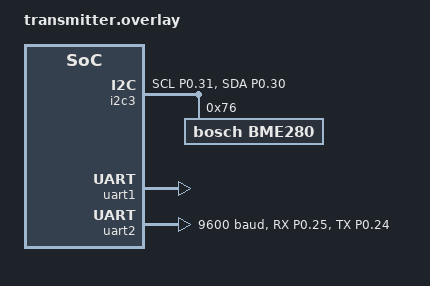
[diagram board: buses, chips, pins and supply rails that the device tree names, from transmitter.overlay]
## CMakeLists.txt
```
#
# Copyright (c) 2020 Nordic Semiconductor
#
# SPDX-License-Identifier: LicenseRef-Nordic-5-Clause
#

cmake_minimum_required(VERSION 3.20.0)

find_package(Zephyr REQUIRED HINTS $ENV{ZEPHYR_BASE})
project(dect_gps)

# NORDIC SDK APP START
target_sources(app PRIVATE src/main.c)
target_sources(app PRIVATE src/gps.c)
target_sources(app PRIVATE src/cloud_uart.c)
target_sources(app PRIVATE src/dect.c)
# NORDIC SDK APP END
```

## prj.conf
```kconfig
CONFIG_DK_LIBRARY=y
CONFIG_LOG=y
CONFIG_LOG_MODE_IMMEDIATE=y
CONFIG_LOG_PRINTK=n
CONFIG_LOG_DEFAULT_LEVEL=3
CONFIG_MODEM_ANTENNA_AT_MAGPIO=""
CONFIG_MODEM_ANTENNA_AT_COEX0=""
CONFIG_NRF_MODEM_LOG=n
CONFIG_NRF_MODEM_LIB_LOG_LEVEL_DBG=n
CONFIG_SENSOR=y
CONFIG_BME280=y
CONFIG_STDOUT_CONSOLE=y
CONFIG_SERIAL=y
CONFIG_DATE_TIME=y
CONFIG_DATE_TIME_NTP=n
CONFIG_NRF_MODEM_LIB=y
CONFIG_NRF_MODEM_LINK_BINARY_DECT_PHY=y
CONFIG_MODEM_ANTENNA=n
CONFIG_HWINFO=y
CONFIG_HEAP_MEM_POOL_SIZE=8192
CONFIG_RING_BUFFER=y
```

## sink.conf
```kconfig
#Compile build with this configuration when programming Sinks

CONFIG_I2C=n
CONFIG_UART_ASYNC_API=y
CONFIG_UART_INTERRUPT_DRIVEN=n
```

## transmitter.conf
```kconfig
#Compile build with this configuration when programming Transmitters

CONFIG_I2C=y
CONFIG_UART_ASYNC_API=n
CONFIG_UART_INTERRUPT_DRIVEN=y
CONFIG_UART_2_INTERRUPT_DRIVEN=y
```

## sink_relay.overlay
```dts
uart1: &uart1 {
	status = "okay";
};

&spi3 {
    status = "disabled";
};

&i2c2 {
    status = "disabled";
};

uart2: &uart2 {
    status="okay";
    pinctrl-0 = <&uart2_default>;
    pinctrl-names = "default";
    current-speed = <9600>;
};

&pinctrl {
    uart2_default: uart2_default {
        group1 {
            psels = <NRF_PSEL(UART_RX, 0, 25)>, <NRF_PSEL(UART_TX, 0, 24)>;
        };
    };
};
```

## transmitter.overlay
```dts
&i2c2 {
    status = "disabled";
};

&i2c3 {
    status = "okay";

	bme280@76 {
		compatible = "bosch,bme280";
		reg = <0x76>;
	};
};

uart1: &uart1 {
	status = "okay";
};

uart2: &uart2 {
    status="okay";
    pinctrl-0 = <&uart2_default>;
    pinctrl-names = "default";
    current-speed = <9600>;
};

&pinctrl {
    uart2_default: uart2_default {
        group1 {
            psels = <NRF_PSEL(UART_RX, 0, 25)>, <NRF_PSEL(UART_TX, 0, 24)>;
        };
    };
};

&i2c3 {
    pinctrl-0 = <&i2c3_default>;
    pinctrl-names = "default";
};

&pinctrl {
    i2c3_default: i2c3_default {
        group1 {
            psels = <NRF_PSEL(TWIM_SCL, 0, 31)>;
        };
    };
};

&i2c3_default {
    group1 {
        psels = <NRF_PSEL(TWIM_SCL, 0, 31)>, <NRF_PSEL(TWIM_SDA, 0, 30)>;
    };
};

&spi3 {
    status = "disabled";
};
```

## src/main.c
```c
#include <string.h>
#include <zephyr/kernel.h>
#include <zephyr/device.h>
#include <zephyr/logging/log.h>
#include <dk_buttons_and_leds.h>
#include <zephyr/drivers/uart.h>
#include <zephyr/drivers/sensor.h>
#include <date_time.h>
#include "dect.h"
#include "gps.h"
#include "cloud_uart.h"

LOG_MODULE_REGISTER(app);

//Set Radio ID according to required mode and cluster setting
int RD_ID = 1;

uint8_t sensor[4];
uint32_t i;
char mode;
bool testRange = false;
int relay_select = 0;

// External GPS variables
int64_t current_time_ms;

void mapper(int value, uint8_t* buffer) {
    // Extract the three bytes from the value
    buffer[0] = (value >> 16) & 0xFF;  // Most significant byte
    buffer[1] = (value >> 8) & 0xFF;   // Middle byte
    buffer[2] = value & 0xFF;          // Least significant byte
}

void button_handler(uint32_t button_state, uint32_t has_changed) {
    // Check if the first button (usually DK_BTN1) was pressed
    if ((has_changed & button_state) && (button_state & DK_BTN1_MSK)) {
        _txData[4] = 41;
        testRange = false;
        modem_tx(relay_select);
        dk_set_led_off(DK_LED3);
        dk_set_led_off(DK_LED4);
    }
    // Check if the second button (usually DK_BTN2) was pressed
    if ((has_changed & button_state) && (button_state & DK_BTN2_MSK)) {
        _txData[4] = 61;
        testRange = false;
        modem_tx(relay_select);
        dk_set_led_off(DK_LED3);
        dk_set_led_off(DK_LED4);        
    }
    // Check if the third button (usually DK_BTN3) was pressed
    if ((has_changed & button_state) && (button_state & DK_BTN3_MSK)) {
        _txData[4] = 81;
        testRange = false;
        modem_tx(relay_select);
        dk_set_led_off(DK_LED3);
        dk_set_led_off(DK_LED4);        
    }
    if ((has_changed & button_state) && (button_state & DK_BTN4_MSK)) {
        _txData[4] = 81;
        testRange = true;
    }          
}

static const struct device* get_bme280_device(void) {
  const struct device* const dev = DEVICE_DT_GET_ANY(bosch_bme280);

  if (dev == NULL) {
    // No such node, or the node does not have status "okay".
    printk("\nError: no device found.\n");
    return NULL;
  }

  if (!device_is_ready(dev)) {
    printk("\nError: Device \"%s\" is not ready; check the driver initialization logs for errors.\n",
           dev->name);
    return NULL;
  }

  printk("Found device \"%s\", getting sensor data\n", dev->name);
  return dev;
}

void update_n_print_time() {
  struct tm timeinfo;

  // Get the current UTC timestamp in milliseconds
  date_time_now(&current_time_ms);

  // Extract the seconds part
  time_t seconds = (time_t)(current_time_ms / 1000);

  // Get the milliseconds part
  int milliseconds = (int)(current_time_ms % 1000);

  // Convert to structured time (UTC)
  gmtime_r(&seconds, &timeinfo);

  // Display the structured time with milliseconds
  printf("Date and Time (UTC): %02d/%02d/%04d - %2d:%02d:%02d.%03d\n",
         timeinfo.tm_mday,
         timeinfo.tm_mon,
         timeinfo.tm_year + 1900,
         timeinfo.tm_hour,
         timeinfo.tm_min,
         timeinfo.tm_sec,
         milliseconds);
}

void mode_define(){
  if (RD_ID >= 1 && RD_ID <= 10) {
    mode = 'T';
  } else if (RD_ID >= 11 && RD_ID <= 40) {
    mode = 'R';
  } else if (RD_ID >= 41 && RD_ID <= 100) {
    mode = 'S';
  }
}

int dect_init(){
  k_sem_take(&modem, K_FOREVER);
  int err = 0;
  // Define mode according to ID
  mode_define();
  err = nrf_modem_dect_phy_callback_set(&dect_cb_config);
  if (err != 0) {
    printk("ERROR settings callbacks %d\n", err);
  }
  err = nrf_modem_dect_phy_init(&init_params);
  if (err != 0) {
    printk("ERROR initializing modem PHY %d\n", err);
    return -1;
  }
  printk("DECT init started\n");
  nrf_modem_lib_init();
  return 0; 
}

int transmitter(){
    
  // Initialize GPS
  int err = UartInit();
  if (err != 0) {
    printk("uart_gps failed (err %d)\n", err);
    return 0;
  } else {
    printk("GPS Initialized...\n");
  }

  // Initialize DK buttons
  dk_buttons_init(button_handler);

  // Get BME280 device
  const struct device* dev = get_bme280_device(); 

  if (RD_ID == 1) relay_select = 11;
  else if (RD_ID == 2) relay_select = 21;
  else if (RD_ID == 3) relay_select = 31;
  
  // Wait for 1 second
  k_msleep(1000); 
  
  // Start transmission
  printk("Transmission Mode... RD ID: %d\n", RD_ID);
  printk("Data will be sent over relay %d\n", relay_select);
  
  while (1) {
    ProcessGpsData();
    // Sleep for 330 milliseconds
    k_msleep(330);

    // Toggle LEDs
    if (i % 2 == 0) {
      dk_set_led_on(DK_LED1);
      dk_set_led_on(DK_LED2);
    } else {
      dk_set_led_off(DK_LED1);
      dk_set_led_off(DK_LED2);
    }

    // Read sensor data
    struct sensor_value temp, press, humidity;
    sensor_sample_fetch(dev);
    sensor_channel_get(dev, SENSOR_CHAN_AMBIENT_TEMP, &temp);
    sensor_channel_get(dev, SENSOR_CHAN_PRESS, &press);
    sensor_channel_get(dev, SENSOR_CHAN_HUMIDITY, &humidity);

    // Store sensor data in array
    sensor[0] = temp.val1;
    sensor[1] = press.val1;
    sensor[2] = humidity.val1;
    sensor[3] = temp.val2 / 10000;

    // Set transmit data
    set_txData(sensor[0], sensor[1], sensor[2], sensor[3], 0, 0);

    if (testRange)
    {
      _txData[4] = 81;
      printk("Testing Range\n");
      modem_tx(81);
      dk_set_led_off(DK_LED3);
      dk_set_led_off(DK_LED4); 
    }
      
    // Increment counter
    i++;

    // Sleep for 670 milliseconds
    k_msleep(670);

    // Check for looped integer value
    if (i == INT32_MAX) {
      i = 0;
      LOG_INF("Sent integer value looped");
    }
  }
  return 0;
}

void range_set() {
  if (RD_ID >= 11 && RD_ID <= 20) {
    cluster = 1;
    int j = 41;
    for (int k = 0; k < RANGE_SIZE; k++) {
      range[k] = j;
      j++;
    }
  } else if (RD_ID >= 21 && RD_ID <= 30) {
    cluster = 2;
    int j = 61;
    for (int k = 0; k < RANGE_SIZE; k++) {
      range[k] = j;
      j++;
    }
  } else if (RD_ID >= 31 && RD_ID <= 40) {
    cluster = 3;
    int j = 81;
    for (int k = 0; k < RANGE_SIZE; k++) {
      range[k] = j;
      j++;
    }
  }
}

void init_sink(){
  if (41 <= RD_ID && RD_ID <= 60) {
    for(int i=11; i<=20; i++) {
      _txData[0] = 1;
      _txData[4] = 0;
      modem_tx(i);
      k_msleep(50);
      count10++;
    }
    sink_start = true;
  } else if (61 <= RD_ID && RD_ID <= 80) {
    for(int i=21; i<=30; i++) {
      _txData[0] = 1;
      _txData[4] = 0;
      modem_tx(i);
      k_msleep(50);
      count10++;
    }
    sink_start = true;
  } else if (81 <= RD_ID && RD_ID <= 100) {
    for(int i=31; i<=40; i++) {
      _txData[0] = 1;
      _txData[4] = 0;
      modem_tx(i);
      k_msleep(50);
      count10++;
    }
    sink_start = true;
  }
}

int main(void) {

  printk("START DECT MESH\n");
  dk_leds_init();
  printk("leds init\t");

  dect_init();

  if (mode == 'T') {

    transmitter();

  } 
  
  else if (mode == 'R') {
    // Set LEDs for relay mode
    dk_set_led_on(DK_LED2);
    dk_set_led_on(DK_LED3);
    printk("Relay Mode... RD ID: %d\n", RD_ID);
    // Set range
    range_set();

    while (1)
    {
      dk_set_led_off(DK_LED1);
      dk_set_led_on(DK_LED2);
      dk_set_led_on(DK_LED3);
      dk_set_led_off(DK_LED4);
      modem_rx(NRF_MODEM_DECT_PHY_RX_MODE_SEMICONTINUOUS, 1);
      k_msleep(100);
    }
  }

  else if (mode == 'S') {
    cloud_uart_init();
    // Set LEDs for sink mode
    dk_set_led_on(DK_LED3);
    dk_set_led_on(DK_LED4);
    printk("Sink Mode... RD ID: %d\n", RD_ID);
    init_sink();

    while (1)
    {
      dk_set_led_off(DK_LED1);
      dk_set_led_off(DK_LED2);
      dk_set_led_on(DK_LED3);
      dk_set_led_on(DK_LED4);
      modem_rx(NRF_MODEM_DECT_PHY_RX_MODE_CONTINUOUS, 1);
      k_msleep(100);
      
    }
  }
  return 0;
}
```

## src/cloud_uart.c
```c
#include <zephyr/kernel.h>
#include <zephyr/device.h>
#include <zephyr/drivers/uart.h>
#include "cloud_uart.h"

const struct device* uart = DEVICE_DT_GET(DT_NODELABEL(uart1));

const struct uart_config uart_cfg = {
    .baudrate = 115200,
    .parity = UART_CFG_PARITY_NONE,
    .stop_bits = UART_CFG_STOP_BITS_1,
    .data_bits = UART_CFG_DATA_BITS_8,
    .flow_ctrl = UART_CFG_FLOW_CTRL_NONE
};

void data_over_uart(){
    int ret = uart_tx(uart, sensor, sizeof(sensor), SYS_FOREVER_MS);
    if (ret != 0) {
        printk("Failed to send data over UART: %d\n", ret);
    } else {
        printk("Data Forwarded\n");
    }
}

int cloud_uart_init() {
    int err;

    if (!device_is_ready(uart)) {
        printk("UART device not ready\n");
        return -ENODEV;
    }

    k_msleep(1000); // Ensure any necessary startup delay

    printk("UART Initialized...\n");

    err = uart_configure(uart, &uart_cfg);
    if (err) {
        printk("Failed to configure UART: %d\n", err);
        return err;
    }

    printk("UART Configured...\n");
    return 0;
}
```

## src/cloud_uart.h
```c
#ifndef CLOUD_UART_H
#define CLOUD_UART_H

#include <stdint.h>

extern uint8_t sensor[4];

void data_over_uart();
int cloud_uart_init();

#endif // CLOUD_UART_H
```

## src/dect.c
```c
#include "dect.h"
#include "cloud_uart.h"

int INIT_DONE = 0;
int EXIT = 0;

// Handle values for API calls, separate tx and rx
int txHandle = 1;
int rxHandle = 31400;

// Statistics collecting
int previous_received = -1;
int missing_errors = 0;
int crc_errors = 0;
int received_ok = 0;
float rssi_average = 0;
int n = 0;
uint8_t lat_buffer[3];
uint8_t lon_buffer[3];
int range[RANGE_SIZE];
int16_t _rssi2;
int16_t snr;
int sinks[20] = {0};
int numSink = 0;
bool sink_start = false;
int count10 = 1;

uint8_t _txData[DATA_LEN];
uint8_t _rxData[DATA_LEN];

int cluster;
uint16_t tx_id;

#define LOG_MODULE_NAME DECT
LOG_MODULE_REGISTER(LOG_MODULE_NAME);

// Semaphore for API calls, only 1 async operation at a time in this sample 
K_SEM_DEFINE(modem, 1, 1);

// Setup the nrf_modem_dect_phy_operation_rx
struct nrf_modem_dect_phy_rx_params rxOpsParams = {0};

// TYPE 2 FORMAT 001 header for messages used
struct phy_ctrl_field_common {
    uint32_t header_format : 3;
    uint32_t packet_length_type : 1;
    uint32_t packet_length : 4;
    uint32_t short_network_id : 8;
    uint32_t transmitter_id_hi : 8;
    uint32_t transmitter_id_lo : 8;
    uint32_t transmit_power : 4;
    uint32_t df_mcs : 4;
    uint32_t receiver_id_hi : 8;
    uint32_t receiver_id_lo : 8;
    uint32_t spatial_stream : 2;
    uint32_t reserved : 6;
    uint32_t feedback_format : 4;
    uint32_t feedback_info_hi : 4;
    uint32_t feedback_info_lo : 8;
};
union nrf_modem_dect_phy_hdr phyHeader;

// New parameters for HARQ operation, not used in this sample
const struct nrf_modem_dect_phy_init_params init_params = {
    .harq_rx_expiry_time_us = 5000000,
    .harq_rx_process_count = 1
};

// ETSI TS 103 636-2 spec 8.3.3 RSSI is reported every 0.5dbm
// If successful reception, calculate the average 
int32_t calcRSSI(int16_t recrssi, int is_success) {
    float resp = -20 - ((-recrssi - 1) * 0.5);
    // avg_new = avg_old + (value - avg_old) / n
    if (is_success) {
        n++;
        float new_average = rssi_average + (resp - rssi_average) / n;
        rssi_average = new_average;
    }
    return (int32_t)resp;
}

// Callback functions from PHY API
void init(const uint64_t* time, int16_t temp, enum nrf_modem_dect_phy_err err, const struct nrf_modem_dect_phy_modem_cfg* cfg) {
    if (err == 0) {
        LOG_INF("DECT Init done, temperature %d", temp);
    } else {
        LOG_ERR("INIT FAILED");
        printk("Init failed, Exit\n");
        EXIT = 1;
    }
    k_sem_give(&modem);
}

void op_complete(const uint64_t* time, int16_t temperature, enum nrf_modem_dect_phy_err err, uint32_t handle) {
    LOG_DBG("operation_complete_cb Status %d, Temp %d, Handle %d\n", err, temperature, handle);
    k_sem_give(&modem);
}

void rssi(const uint64_t* time, const struct nrf_modem_dect_phy_rssi_meas* status) {
    k_sem_give(&modem);
}

void rx_stop(const uint64_t* time, enum nrf_modem_dect_phy_err err, uint32_t handle) {
    LOG_DBG("operation_stop_cb Status %d Handle %d", err, handle);
    k_sem_give(&modem);
}

// PHY header receive
void pcc(const uint64_t* time, const struct nrf_modem_dect_phy_rx_pcc_status* status, const union nrf_modem_dect_phy_hdr* hdr) {
    LOG_DBG("pcc_cb phy_header_valid %d rssi_2 %d", status->header_status, status->rssi_2);
    struct phy_ctrl_field_common* header = (struct phy_ctrl_field_common*)hdr->type_1;
    tx_id = header->transmitter_id_hi << 8 | header->transmitter_id_lo;
    // LOG_INF("Received header from device ID %d", tx_id);
}

void pcc_crc_err(const uint64_t* time, const struct nrf_modem_dect_phy_rx_pcc_crc_failure* crc_failure) {
    crc_errors++;
    int16_t resp = calcRSSI(crc_failure->rssi_2, 0);
    LOG_DBG("PCC CRC ERROR, rssi_2, %d, crc error count, %d, continuing", resp, crc_errors);
}

// Function to check if an ID is within the range array
bool isInRange(int id) {
    for (int i = 0; i < RANGE_SIZE; i++) {
        if (range[i] == id) {
            return true;
        }
    }
    return false;
}

// Function to relay data to other nodes
void relayData(int dest, int delay, bool toSink) {
    if(toSink) {
        bool present = false;
        for(int i = 0; i < 20; i++) {
            if (dest == sinks[i]) {
                present = true;
                break;
            }
        }
        if (present) {
            printk("Sink with RD ID %d found.... Sending Data.\n", _rxData[4]);
            set_txData(_rxData[0], _rxData[1], _rxData[2], _rxData[3], _rxData[4], _rxData[5]);
            modem_tx(dest);
            printk("Forwarded...\n");
            k_msleep(delay);
        } else
            printk("Sink with RD ID %d not found\n", _rxData[4]);
    } else {
        set_txData(_rxData[0], _rxData[1], _rxData[2], _rxData[3], _rxData[4], _rxData[5]);
        modem_tx(dest);
        k_msleep(delay);
    }
}

// Function to relay data between relays
void relaytorelay() {
    int delay = 50; // Adjust as needed
    if (_rxData[4] >= 41 && _rxData[4] <= 60) {
        if (cluster == 2) {
            relayData(11, delay, false); // Relay to final destination
        } else if (cluster == 3) {
            relayData(21, delay, false); // Relay to 2nd relay directly
        }
    } else if (_rxData[4] >= 61 && _rxData[4] <= 80) {
        relayData(21, delay, false); // Relay to final destination
    } else if (_rxData[4] >= 81 && _rxData[4] <= 100) {
        if (cluster == 2) {
            relayData(31, delay, false); // Relay to final destination
        } else if (cluster == 1) {
            relayData(21, delay, false); // Relay to 2nd relay directly
        }
    }
}

void processData() {
  printk("**********************************************************************************\n");
    if (!_rxData[5])
  {
    _rxData[5] = tx_id;
  }
  if (_rxData[4] != rxOpsParams.filter.receiver_identity && mode == 'R') {
    printk("Received data from device ID %d\n", tx_id);
    printk("RX ID does not match with receiver. Data to be forwarded...\n");
    
    if (isInRange(_rxData[4])) {
      relayData(_rxData[4], 0, true);  // Forward directly to the destination
    } else {
      printk("ID not in range, forwarding to next relay.\n");
      relaytorelay();  // Forward to the next relay
    }
  } else if (_rxData[4] == rxOpsParams.filter.receiver_identity) {
    printk(
      "Received data from device ID %d - Originated from device ID %d\nTemp = %d.%d, Pressure = %d, Humidity = %d, rssi_2 %d.%d, snr %d, missed/crc errors %d\r\n",
      tx_id, _rxData[5], _rxData[0], _rxData[3], _rxData[1], _rxData[2], (_rssi2 / 2), (_rssi2 & 0b1) * 5, snr, missing_errors
    );
    if (mode == 'S')
    {
      data_over_uart();
    }
  }
  dk_set_led_off(DK_LED4);
  printk("**********************************************************************************\n");
}

void addSink() {
  bool alreadyAdded = false;
  for (int i = 0; i < numSink; i++) {
    if (sinks[i] == tx_id) {
      alreadyAdded = true;
      break;
    }
  }

  if (!alreadyAdded) {
    sinks[numSink] = tx_id;
    printk("Sink with RD ID %d found\n", tx_id);
    numSink++;
  }
}

// Data payload receive, statistics calculation, and tracking previous received message number
void pdc(const uint64_t* time, const struct nrf_modem_dect_phy_rx_pdc_status* status, const void* data, uint32_t len) {
  if (mode == 'R')
  {
    dk_set_led_on(DK_LED1);
    dk_set_led_off(DK_LED2);
    dk_set_led_off(DK_LED3);
    dk_set_led_on(DK_LED4);
  }
    if (mode == 'S')
  {
    dk_set_led_on(DK_LED1);
    dk_set_led_on(DK_LED2);
    dk_set_led_off(DK_LED3);
    dk_set_led_off(DK_LED4);
  }
  memcpy(&_rxData, data, 6);
  _rssi2 = status->rssi_2;
  snr = status->snr;
  sensor[0] = _rxData[0];
  sensor[1] = _rxData[1];
  sensor[2] = _rxData[2];
  sensor[3] = _rxData[3];
  if (_rxData[0] == 1 && !_rxData[4] && mode == 'R') addSink();
  else processData();
}

void pdc_crc_err(const uint64_t* time, const struct nrf_modem_dect_phy_rx_pdc_crc_failure* crc_failure) {
  crc_errors++;
  int16_t resp = calcRSSI(crc_failure->rssi_2, 0);
  LOG_DBG("PDC CRC ERROR, rssi_2, %d, crc error count, %d, continuing", resp, crc_errors);
}

void link_config(const uint64_t* time, enum nrf_modem_dect_phy_err err) {}

void time_get(const uint64_t* time, enum nrf_modem_dect_phy_err err) {
  LOG_DBG("Time query response time %" PRIu64 " Status %d", *time, err);
}

void capability_get(const uint64_t* time, enum nrf_modem_dect_phy_err err, const struct nrf_modem_dect_phy_capability* capability) {
  LOG_DBG("Capability query response FIXME %" PRIu64 " Status %d", *time, err);
}

void deinit(const uint64_t* time, enum nrf_modem_dect_phy_err err) {
  LOG_DBG("DEINIT response time %" PRIu64 " Status %d", *time, err);
}

// Set function callbacks to structure, registered to modem API in main
struct nrf_modem_dect_phy_callbacks dect_cb_config = {
  .init = init,
  .op_complete = op_complete,
  .rssi = rssi,
  .rx_stop = rx_stop,
  .pcc = pcc,
  .pcc_crc_err = pcc_crc_err,
  .pdc = pdc,
  .pdc_crc_err = pdc_crc_err,
  .link_config = link_config,
  .time_get = time_get,
  .capability_get = capability_get,
  .deinit = deinit
};

// Listen, start immediately and listen for time_s duration
void modem_rx(uint32_t rxMode, int time_s) {
  // Setup the nrf_modem_dect_phy_operation_rx
  // struct nrf_modem_dect_phy_rx_params rxOpsParams = {0};
  rxOpsParams.start_time = 0; // Start immediately
  rxOpsParams.handle = rxHandle;
  rxOpsParams.network_id = 0x0a;
  rxOpsParams.mode = rxMode;
  rxOpsParams.link_id = NRF_MODEM_DECT_PHY_LINK_UNSPECIFIED;
  rxOpsParams.rssi_level = 0;
  rxOpsParams.carrier = CARRIER;
  // Modem clock ticks NRF_MODEM_DECT_MODEM_TIME_TICK_RATE_KHZ --> 69120*1000* TIME_S
  rxOpsParams.duration = time_s * 69120 * 1000; 
  // Filter on the short network id, last 8 bits of the network identifier in DECT NR
  rxOpsParams.filter.short_network_id = (uint8_t)(0x0a & 0xff);
  rxOpsParams.filter.is_short_network_id_used = 1;
  // Listen for specific transmissions (unicast mode used)
  rxOpsParams.filter.receiver_identity = RD_ID;
  k_sem_take(&modem, K_FOREVER);
  int err = nrf_modem_dect_phy_rx(&rxOpsParams);
  if (err != 0) LOG_ERR("RX FAIL %d", err);
  if (rxHandle == 65000) rxHandle = 31400;
  else rxHandle++;
}

// Send payload immediately, start_time = 0
void modem_tx(uint16_t rx_id) {
  // Define and set the feedback structure
  dect_phy_feedback_t feedback;
  feedback.format0.format = 0;  // Feedback format 1

  // Define a structure for header type 2 with format 1
  struct dect_phy_header_type2_format1_t header = {
      .packet_length = 1,
      .packet_length_type = 1,  // 1 indicates packet length in subslots
      .format = 1,              // Format 1, corresponding to header format 1
      .short_network_id = 0x0A, // Network ID
      .transmitter_identity_hi = (RD_ID >> 8),
      .transmitter_identity_lo = (RD_ID & 0xFF),
      .receiver_identity_hi = (rx_id >> 8),
      .receiver_identity_lo = (rx_id & 0xFF),
      .transmit_power = POWER,
      .df_mcs = MCS,
      .spatial_streams = 0x00,  // Single spatial stream
      .feedback = feedback};

  memcpy(&phyHeader.type_2, &header, 10);

  // Setup the nrf_modem_dect_phy_operation_tx
  struct nrf_modem_dect_phy_tx_params txOpsParams;
  // Immediate operation
  txOpsParams.start_time = 0;
  txOpsParams.handle = txHandle;
  // Network id value, used in rx filtering
  txOpsParams.network_id = 0x0a;
  txOpsParams.phy_type = 1;
  txOpsParams.lbt_rssi_threshold_max = 0;
  // EU carrier, see ETSI TS 103 636-2 5.4.2 for the calculation
  txOpsParams.carrier = CARRIER;
  // NOTE !!! No LBT done
  txOpsParams.lbt_period = 0;
  txOpsParams.phy_header = &phyHeader;
  txOpsParams.data = _txData;
  txOpsParams.data_size = DATA_LEN;
  // Call nrf_modem_dect_phy_schedule_tx_operation_add()
  k_sem_take(&modem, K_FOREVER);
  dk_set_led_on(DK_LED3);
  dk_set_led_on(DK_LED4);
  int err = nrf_modem_dect_phy_tx(&txOpsParams);
  if (err != 0)
    LOG_ERR("TX FAIL %d", err);
  else {
    if (mode == 'S' && !sink_start && count10 == 10)
      printk("Sent Signal to Relays\n");
    else if (mode != 'S')
      printk("Sent: Temp = %d.%d, Pressure = %d, Humidity = %d...... Sent For: %d\r\n", _txData[0], _txData[3], _txData[1], _txData[2], _txData[4]);
  }
  if (txHandle == 30000)
    txHandle = 1;
  else
    txHandle++;
  dk_set_led_on(DK_LED4);
}

void set_txData(uint8_t t, uint8_t p, uint8_t h, uint8_t t2, uint8_t id, uint8_t origin) {
  _txData[0] = t;
  _txData[1] = p;
  _txData[2] = h;
  _txData[3] = t2;
  _txData[4] = id;
  _txData[5] = origin;
}

void modem_tx_rx(uint8_t rx_id, uint32_t rxMode, int time_s) {
// Define and set the feedback structure
  dect_phy_feedback_t feedback;
  feedback.format0.format = 0;  // Feedback format 1

  // Define a structure for header type 2 with format 1
  struct dect_phy_header_type2_format1_t header2 = {
      .packet_length = 1,
      .packet_length_type = 1,  // 1 indicates packet length in subslots
      .format = 1,              // Format 1, corresponding to header format 1
      .short_network_id = 0x0A, // Network ID
      .transmitter_identity_hi = (RD_ID >> 8),
      .transmitter_identity_lo = (RD_ID & 0xFF),
      .receiver_identity_hi = (rx_id >> 8),
      .receiver_identity_lo = (rx_id & 0xFF),
      .transmit_power = POWER,
      .df_mcs = MCS,
      .spatial_streams = 0x00,  // Single spatial stream
      .feedback = feedback};

  memcpy(&phyHeader.type_2, &header2, 10);

  struct nrf_modem_dect_phy_tx_rx_params tx_rx = {
    // Immediate operation
    .tx.start_time = 0,
    .tx.handle = txHandle,
    // Network id value, used in rx filtering
    .tx.network_id = 0x0a,
    .tx.phy_type = 1,
    .tx.lbt_rssi_threshold_max = 0,
    // EU carrier, see ETSI TS 103 636-2 5.4.2 for the calculation
    .tx.carrier = CARRIER,
    // NOTE !!! No LBT done
    .tx.lbt_period = 0,
    .tx.phy_header = &phyHeader,
    .tx.data = _txData,
    .tx.data_size = DATA_LEN,
    .rx.start_time = 19,
    .rx.handle = rxHandle,
    .rx.network_id = 0x0a,
    .rx.mode = rxMode,
    .rx.link_id = NRF_MODEM_DECT_PHY_LINK_UNSPECIFIED,
    .rx.rssi_level = 0,
    .rx.carrier = CARRIER,
    // Modem clock ticks NRF_MODEM_DECT_MODEM_TIME_TICK_RATE_KHZ --> 69120*1000* TIME_S
    .rx.duration = time_s * 69120 * time_s,
    // Filter on the short network id, last 8 bits of the network identifier in DECT NR
    .rx.filter.short_network_id = (uint8_t)(0x0a & 0xff),
    .rx.filter.is_short_network_id_used = 1,
    // Listen for specific transmissions (unicast mode used)
    .rx.filter.receiver_identity = RD_ID 
  };
  
  int err = nrf_modem_dect_phy_tx_rx(&tx_rx);
  if (err != 0)
    LOG_ERR("TX FAIL %d", err);
}
```

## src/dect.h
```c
#ifndef DECT_H
#define DECT_H

#include <string.h>
#include <zephyr/kernel.h>
#include <zephyr/device.h>
#include <zephyr/logging/log.h>
#include <dk_buttons_and_leds.h>
#include <modem/nrf_modem_lib.h>
#include <nrf_modem_dect_phy.h>

#define CARRIER 1659
#define POWER  0x0f // 23 dBm
#define DATA_LEN 6
#define MCS 1

#define RANGE_SIZE 20

extern int RD_ID;
extern int INIT_DONE;
extern int EXIT;

// Handle values for API calls, separate tx and rx
extern int txHandle;
extern int rxHandle;

// Statistics collecting
extern int previous_received;
extern int missing_errors;
extern int crc_errors;
extern int received_ok;
extern float rssi_average;
extern uint8_t sensor[4];
extern uint8_t lat_buffer[3];
extern uint8_t lon_buffer[3];
extern char mode;
extern int range[RANGE_SIZE];
extern int16_t _rssi2;
extern int16_t snr;
extern int sinks[20];
extern int numSink;
extern bool sink_start;
extern int count10;
extern bool testRange;
extern int relay_select;
extern uint8_t _txData[DATA_LEN];
extern uint8_t _rxData[DATA_LEN];
extern int cluster;
extern uint16_t tx_id;

extern struct k_sem modem;

extern struct nrf_modem_dect_phy_callbacks dect_cb_config;
extern const struct nrf_modem_dect_phy_init_params init_params;

void modem_tx(uint16_t rx_id);
void modem_rx(uint32_t rxMode, int time_s);
void modem_tx_rx(uint8_t rx_id, uint32_t rxMode, int time_s);
void set_txData(uint8_t t, uint8_t p, uint8_t h, uint8_t t2, uint8_t id, uint8_t origin);

#endif // DECT_H
```

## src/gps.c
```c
#include <stdlib.h>
#include <zephyr/sys/ring_buffer.h>
#include "gps.h"

#define LOG_MODULE_NAME UART_GPS
LOG_MODULE_REGISTER(LOG_MODULE_NAME);

static const struct device* uart_gps = DEVICE_DT_GET(DT_NODELABEL(uart2));
static struct ring_buf rx_ringbuf;
static uint8_t rx_buffer[1024];  // Adjust the size as needed

const struct uart_config uart_gps_cfg = {
    .baudrate = 9600,
    .parity = UART_CFG_PARITY_NONE,
    .stop_bits = UART_CFG_STOP_BITS_1,
    .data_bits = UART_CFG_DATA_BITS_8,
    .flow_ctrl = UART_CFG_FLOW_CTRL_NONE
};

gps_data_t gps_data;

char* StrtokFr(char* s, char delim, char** save_ptr) {
  char* tail;
  char c;

  if (s == NULL) {
    s = *save_ptr;
  }
  tail = s;
  if ((c = *tail) == '\0') {
    s = NULL;
  } else {
    do {
      if (c == delim) {
        *tail++ = '\0';
        break;
      }
    } while ((c = *++tail) != '\0');
  }
  *save_ptr = tail;
  return s;
}

char* StrtokF(char* s, char delim) {
  static char* save_ptr;
  return StrtokFr(s, delim, &save_ptr);
}

int SetDateTime(struct tm* new_date_time) {
  int ret = date_time_set(new_date_time);
  if (ret == 0) {
    // printk("Date and time set successfully.\n");
  } else {
    printk("Failed to set date and time. Error code: %d\n", ret);
  }
  return ret;
}

double NmeaToDecimal(double nmea) {
  int degrees = (int)nmea / 100;  // Extract degrees
  double minutes = nmea - degrees * 100;  // Extract minutes
  return degrees + minutes / 60;  // Convert to decimal
}

void DMStoDecimal(gps_data_t* data) {
  double lat = NmeaToDecimal(strtod(data->Latitude, NULL));
  double lon = NmeaToDecimal(strtod(data->Longitude, NULL));
  int whole_lat = (int)lat;
  int decimal_lat = (int)((lat - whole_lat) * 1000000);
  int whole_lon = (int)lon;
  int decimal_lon = (int)((lon - whole_lon) * 1000000);
  printk("LAT: %d.%06d %c, LON: %d.%06d %c\n", 
         whole_lat, 
         decimal_lat, 
         data->N_S, 
         whole_lon, 
         decimal_lon, 
         data->E_W);
}

bool TimeSet = false;
bool GpsFix = false;
time_t LastPrintTime = 0;

void ParseGprmc(char* sentence, gps_data_t* data) {
  if (strncmp(sentence, "$GPRMC,", strlen("$GPRMC,")) != 0) {
    return;
  }

  char* tokens[15];
  int i = 0;
  char* token = StrtokF(sentence, ',');
  while (token != NULL && i < 15) {
    tokens[i++] = token;
    token = StrtokF(NULL, ',');
  }

  data->Message_ID = tokens[0];
  data->Current_Time = tokens[1];
  data->Data_Valid = tokens[2];
  data->Latitude = tokens[3];
  data->N_S = *tokens[4];  // Assigning individual character
  data->Longitude = tokens[5];
  data->E_W = *tokens[6];  // Assigning individual character
  data->Speed = tokens[7];
  data->COG = tokens[8];
  data->Date = tokens[9];
    
  sscanf(data->Current_Time, "%2d%2d%2d", &data->hour, &data->minute, &data->second);
  sscanf(data->Date, "%2d%2d%2d", &data->day, &data->month, &data->year);

  struct tm new_date_time = {
      .tm_sec = data->second,
      .tm_min = data->minute,
      .tm_hour = data->hour,
      .tm_mday = data->day,
      .tm_mon = data->month - 1,
      .tm_year = 100 + data->year,
      .tm_wday = -1,
      .tm_yday = -1,
      .tm_isdst = -1
  };

  if ((2000 + data->year) <= 2050 && (2000 + data->year) > 2020 && !TimeSet) {
    printk("Setting time to: %d-%d-%d %d:%d:%d\n",
           new_date_time.tm_year + 1900,
           new_date_time.tm_mon + 1,
           new_date_time.tm_mday,
           new_date_time.tm_hour,
           new_date_time.tm_min,
           new_date_time.tm_sec);

    SetDateTime(&new_date_time);
    TimeSet = true;
  }

  if (strcmp(data->Data_Valid, "A") == 0 && !GpsFix) {
    printk("GPS Fix Obtained\n");
    GpsFix = true;
  } 

  time_t current_time = time(NULL);
  if (current_time - LastPrintTime >= 60) {
    LastPrintTime = current_time;
    printk("*************************************\n");
    if (GpsFix && (strcmp(data->Data_Valid, "A") == 0)) {   
      DMStoDecimal(data);
    } else if (strcmp(data->Data_Valid, "A") != 0) {
      GpsFix = false;
      printk("Obtaining GPS Fix\n");
    }
    if ((2000 + data->year) <= 2050 && (2000 + data->year) > 2020) {
      printk("Time: %d-%d-%d %d:%d:%d\n",
             new_date_time.tm_year + 1900,
             new_date_time.tm_mon + 1,
             new_date_time.tm_mday,
             new_date_time.tm_hour,
             new_date_time.tm_min,
             new_date_time.tm_sec);
      SetDateTime(&new_date_time);
    }
    printk("*************************************\n");
  }
}

void UartGpsIsr(const struct device* dev, void* user_data) {
  uint8_t data;
  int recv_len;

  ARG_UNUSED(user_data);

  while (uart_irq_update(dev) && uart_irq_is_pending(dev)) {
    if (uart_irq_rx_ready(dev)) {
      recv_len = uart_fifo_read(dev, &data, 1);
      if (recv_len > 0) {
        ring_buf_put(&rx_ringbuf, &data, 1);
      }
    }
  }
}

void ProcessGpsData(void) {
  uint8_t buf[64];  // Adjust the size as needed
  size_t bytes_read;

  while ((bytes_read = ring_buf_get(&rx_ringbuf, buf, sizeof(buf))) > 0) {
    char* sentence = (char*)buf;
    // printk("%s", sentence);
    ParseGprmc(sentence, &gps_data);
  }
}

int UartInit(void) {
  int err;

  if (!device_is_ready(uart_gps)) {
    printk("UART GPS device not ready\n");
    return -ENODEV;
  } else {
    printk("GPS Initialized...\n");
  }

  printk("Attempting to configure UART GPS\n");
  err = uart_configure(uart_gps, &uart_gps_cfg);
  if (err) {
    LOG_ERR("GPS not Configured %d (0x%x)\n", err, err);
    return err;
  } else {
    printk("GPS Configured\n");
  }

  ring_buf_init(&rx_ringbuf, sizeof(rx_buffer), rx_buffer);
  printk("Ring buffer initialized with size: %d\n", sizeof(rx_buffer));

  uart_irq_callback_user_data_set(uart_gps, UartGpsIsr, NULL);
  uart_irq_rx_enable(uart_gps);

  return 0;
}
```

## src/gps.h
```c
#ifndef GPS_H
#define GPS_H

#include <zephyr/kernel.h>
#include <zephyr/device.h>
#include <zephyr/drivers/uart.h>
#include <zephyr/logging/log.h>
#include <time.h>
#include <date_time.h>

#define UART_BUF_SIZE 256
#define UART_WAIT_FOR_BUF_DELAY K_MSEC(100)
#define UART_RX_TIMEOUT 100

typedef struct {
    char *Message_ID;
    char *Current_Time;
    char *Data_Valid;
    char *Latitude;
    char N_S;
    char *Longitude;
    char E_W;
    char *Speed;
    char *COG;
    char *Date;
    char *Position_Fix_Indicator;
    char *Satellites_Used;
    char *Altitude;
    char *A_Units;
    char *Fix_Age;
    int hour, minute, second, day, month, year;
} gps_data_t;

int UartInit(void);
void ProcessGpsData(void);

#endif // GPS_H
```
